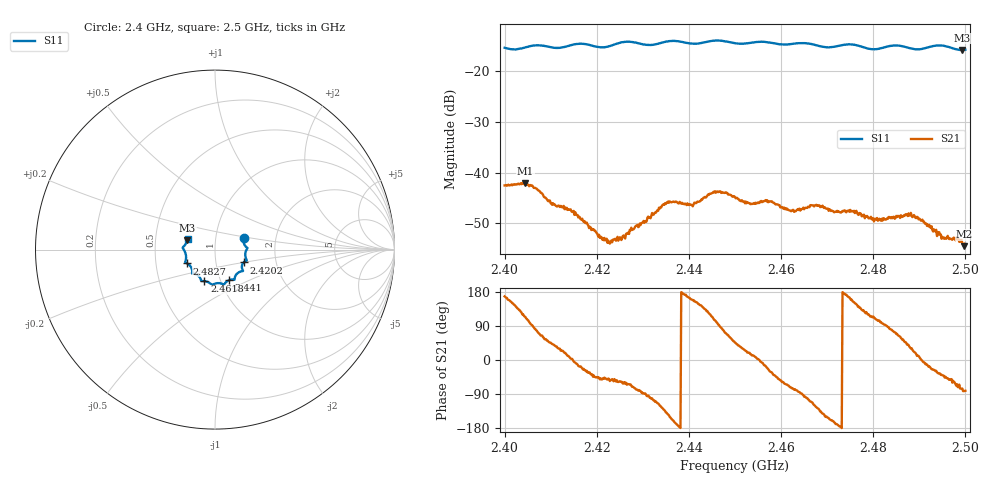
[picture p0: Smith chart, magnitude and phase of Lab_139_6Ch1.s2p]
# Hz S RI R 50
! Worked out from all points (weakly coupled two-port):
!   601 points, 2.4 GHz to 2.5 GHz, reference 50 ohm
!   highest |S21| = -42.03 dB at 2.4045 GHz (marker M1); lowest = -54.5 dB at 2.4997 GHz (marker M2)
!   lowest |S11| = -15.8 dB at 2.4993 GHz (marker M3), VSWR 1.39, Z = 36.5 + j3.8 ohm
!   |S11| at or under -10 dB: start of sweep to end of sweep
!   S12 and S22 are empty: the file has one direction only
!   S11 on the Smith chart (normalised r, x): 2.4 GHz: 1.36, +0.18; 2.4202 GHz: 1.36, -0.20; 2.441 GHz: 1.10, -0.39; 2.4618 GHz: 0.84, -0.30; 2.4827 GHz: 0.72, -0.11; 2.5 GHz: 0.73, +0.09
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2.4e9  0.1589 0.0628  -0.00733 0.00157  0 0  0 0
2.4045e9  0.1715 0.0165  -0.00318 0.00725  0 0  0 0
2.416667e9  0.1772 -0.0608  0.00327 -0.00116  0 0  0 0
2.420167e9  0.1588 -0.0714  0.00171 -0.00178  0 0  0 0
2.422833e9  0.1496 -0.0958  0.00113 -0.00165  0 0  0 0
2.425667e9  0.1554 -0.1166  0.00111 -0.00211  0 0  0 0
2.433333e9  0.1117 -0.1505  -0.00177 -0.00384  0 0  0 0
2.435667e9  0.1093 -0.1659  -0.00419 -0.00285  0 0  0 0
2.441e9  0.0788 -0.1698  -0.00451 0.00181  0 0  0 0
2.445667e9  0.0507 -0.1948  -0.00166 0.00636  0 0  0 0
2.45e9  0.0286 -0.1874  0.00399 0.0041  0 0  0 0
2.4535e9  -0.00421 -0.1916  0.00478 0.00126  0 0  0 0
2.458e9  -0.025 -0.189  0.00439 -0.00285  0 0  0 0
2.461833e9  -0.0593 -0.1755  0.00142 -0.00401  0 0  0 0
2.466667e9  -0.0788 -0.1683  -0.00175 -0.00445  0 0  0 0
2.482667e9  -0.1559 -0.0771  -0.000126 0.00348  0 0  0 0
2.483333e9  -0.1603 -0.075  0.000205 0.00366  0 0  0 0
2.4885e9  -0.1611 -0.044  0.00326 0.00166  0 0  0 0
2.495333e9  -0.1782 0.014  0.00167 -0.00149  0 0  0 0
2.499333e9  -0.1542 0.0507  0.000511 -0.00194  0 0  0 0
2.499667e9  -0.153 0.0556  0.000259 -0.00187  0 0  0 0
2.5e9  -0.1523 0.0603  0.000296 -0.00192  0 0  0 0
